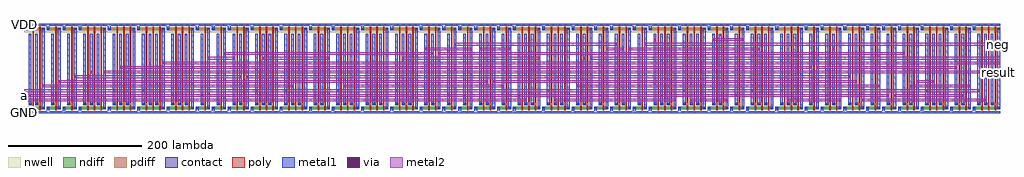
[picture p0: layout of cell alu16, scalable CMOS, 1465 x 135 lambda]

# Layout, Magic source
magic
tech scmos
<< nwell >>
rect 0 122 1465 135
<< metal1 >>
rect 0 132 1465 135
rect 0 0 1465 3
rect 7 12 11 120
rect 17 12 21 120
rect 0 125 4 132
rect 0 3 4 10
rect 27 6 31 129
rect 41 12 45 120
rect 34 125 38 132
rect 34 3 38 10
rect 51 6 55 129
rect 65 12 69 120
rect 58 125 62 132
rect 58 3 62 10
rect 75 6 79 129
rect 89 12 93 120
rect 99 12 103 120
rect 109 12 113 120
rect 82 125 86 132
rect 82 3 86 10
rect 119 6 123 129
rect 133 12 137 120
rect 143 12 147 120
rect 153 12 157 120
rect 126 125 130 132
rect 126 3 130 10
rect 163 6 167 129
rect 177 12 181 120
rect 187 12 191 120
rect 197 12 201 120
rect 170 125 174 132
rect 170 3 174 10
rect 207 6 211 129
rect 221 12 225 120
rect 231 12 235 120
rect 241 12 245 120
rect 214 125 218 132
rect 214 3 218 10
rect 251 6 255 129
rect 265 12 269 120
rect 258 125 262 132
rect 258 3 262 10
rect 275 6 279 129
rect 289 12 293 120
rect 282 125 286 132
rect 282 3 286 10
rect 299 6 303 129
rect 313 12 317 120
rect 323 12 327 120
rect 306 125 310 132
rect 306 3 310 10
rect 333 6 337 129
rect 347 12 351 120
rect 357 12 361 120
rect 367 12 371 120
rect 340 125 344 132
rect 340 3 344 10
rect 377 6 381 129
rect 391 12 395 120
rect 401 12 405 120
rect 411 12 415 120
rect 384 125 388 132
rect 384 3 388 10
rect 421 6 425 129
rect 435 12 439 120
rect 445 12 449 120
rect 428 125 432 132
rect 428 3 432 10
rect 455 6 459 129
rect 469 12 473 120
rect 479 12 483 120
rect 489 12 493 120
rect 462 125 466 132
rect 462 3 466 10
rect 499 6 503 129
rect 513 12 517 120
rect 523 12 527 120
rect 533 12 537 120
rect 506 125 510 132
rect 506 3 510 10
rect 543 6 547 129
rect 557 12 561 120
rect 567 12 571 120
rect 577 12 581 120
rect 550 125 554 132
rect 550 3 554 10
rect 587 6 591 129
rect 601 12 605 120
rect 611 12 615 120
rect 594 125 598 132
rect 594 3 598 10
rect 621 6 625 129
rect 635 12 639 120
rect 628 125 632 132
rect 628 3 632 10
rect 645 6 649 129
rect 659 12 663 120
rect 652 125 656 132
rect 652 3 656 10
rect 669 6 673 129
rect 683 12 687 120
rect 693 12 697 120
rect 676 125 680 132
rect 676 3 680 10
rect 703 6 707 129
rect 717 12 721 120
rect 710 125 714 132
rect 710 3 714 10
rect 727 6 731 129
rect 741 12 745 120
rect 751 12 755 120
rect 761 12 765 120
rect 734 125 738 132
rect 734 3 738 10
rect 771 6 775 129
rect 785 12 789 120
rect 795 12 799 120
rect 805 12 809 120
rect 778 125 782 132
rect 778 3 782 10
rect 815 6 819 129
rect 829 12 833 120
rect 839 12 843 120
rect 822 125 826 132
rect 822 3 826 10
rect 849 6 853 129
rect 863 12 867 120
rect 856 125 860 132
rect 856 3 860 10
rect 873 6 877 129
rect 887 12 891 120
rect 897 12 901 120
rect 880 125 884 132
rect 880 3 884 10
rect 907 6 911 129
rect 921 12 925 120
rect 914 125 918 132
rect 914 3 918 10
rect 931 6 935 129
rect 945 12 949 120
rect 955 12 959 120
rect 965 12 969 120
rect 938 125 942 132
rect 938 3 942 10
rect 975 6 979 129
rect 989 12 993 120
rect 999 12 1003 120
rect 1009 12 1013 120
rect 982 125 986 132
rect 982 3 986 10
rect 1019 6 1023 129
rect 1033 12 1037 120
rect 1043 12 1047 120
rect 1026 125 1030 132
rect 1026 3 1030 10
rect 1053 6 1057 129
rect 1067 12 1071 120
rect 1060 125 1064 132
rect 1060 3 1064 10
rect 1077 6 1081 129
rect 1091 12 1095 120
rect 1101 12 1105 120
rect 1111 12 1115 120
rect 1084 125 1088 132
rect 1084 3 1088 10
rect 1121 6 1125 129
rect 1135 12 1139 120
rect 1145 12 1149 120
rect 1155 12 1159 120
rect 1128 125 1132 132
rect 1128 3 1132 10
rect 1165 6 1169 129
rect 1179 12 1183 120
rect 1172 125 1176 132
rect 1172 3 1176 10
rect 1189 6 1193 129
rect 1203 12 1207 120
rect 1213 12 1217 120
rect 1196 125 1200 132
rect 1196 3 1200 10
rect 1223 6 1227 129
rect 1237 12 1241 120
rect 1247 12 1251 120
rect 1230 125 1234 132
rect 1230 3 1234 10
rect 1257 6 1261 129
rect 1271 12 1275 120
rect 1264 125 1268 132
rect 1264 3 1268 10
rect 1281 6 1285 129
rect 1295 12 1299 120
rect 1288 125 1292 132
rect 1288 3 1292 10
rect 1305 6 1309 129
rect 1319 12 1323 120
rect 1329 12 1333 120
rect 1312 125 1316 132
rect 1312 3 1316 10
rect 1339 6 1343 129
rect 1353 12 1357 120
rect 1363 12 1367 120
rect 1373 12 1377 120
rect 1346 125 1350 132
rect 1346 3 1350 10
rect 1383 6 1387 129
rect 1397 12 1401 120
rect 1407 12 1411 120
rect 1390 125 1394 132
rect 1390 3 1394 10
rect 1417 6 1421 129
rect 1431 12 1435 120
rect 1441 12 1445 120
rect 1451 12 1455 120
rect 1424 125 1428 132
rect 1424 3 1428 10
rect 1461 6 1465 129
<< pdiff >>
rect 0 125 31 129
rect 34 125 55 129
rect 58 125 79 129
rect 82 125 123 129
rect 126 125 167 129
rect 170 125 211 129
rect 214 125 255 129
rect 258 125 279 129
rect 282 125 303 129
rect 306 125 337 129
rect 340 125 381 129
rect 384 125 425 129
rect 428 125 459 129
rect 462 125 503 129
rect 506 125 547 129
rect 550 125 591 129
rect 594 125 625 129
rect 628 125 649 129
rect 652 125 673 129
rect 676 125 707 129
rect 710 125 731 129
rect 734 125 775 129
rect 778 125 819 129
rect 822 125 853 129
rect 856 125 877 129
rect 880 125 911 129
rect 914 125 935 129
rect 938 125 979 129
rect 982 125 1023 129
rect 1026 125 1057 129
rect 1060 125 1081 129
rect 1084 125 1125 129
rect 1128 125 1169 129
rect 1172 125 1193 129
rect 1196 125 1227 129
rect 1230 125 1261 129
rect 1264 125 1285 129
rect 1288 125 1309 129
rect 1312 125 1343 129
rect 1346 125 1387 129
rect 1390 125 1421 129
rect 1424 125 1465 129
<< ndiff >>
rect 0 6 31 10
rect 34 6 55 10
rect 58 6 79 10
rect 82 6 123 10
rect 126 6 167 10
rect 170 6 211 10
rect 214 6 255 10
rect 258 6 279 10
rect 282 6 303 10
rect 306 6 337 10
rect 340 6 381 10
rect 384 6 425 10
rect 428 6 459 10
rect 462 6 503 10
rect 506 6 547 10
rect 550 6 591 10
rect 594 6 625 10
rect 628 6 649 10
rect 652 6 673 10
rect 676 6 707 10
rect 710 6 731 10
rect 734 6 775 10
rect 778 6 819 10
rect 822 6 853 10
rect 856 6 877 10
rect 880 6 911 10
rect 914 6 935 10
rect 938 6 979 10
rect 982 6 1023 10
rect 1026 6 1057 10
rect 1060 6 1081 10
rect 1084 6 1125 10
rect 1128 6 1169 10
rect 1172 6 1193 10
rect 1196 6 1227 10
rect 1230 6 1261 10
rect 1264 6 1285 10
rect 1288 6 1309 10
rect 1312 6 1343 10
rect 1346 6 1387 10
rect 1390 6 1421 10
rect 1424 6 1465 10
<< poly >>
rect 13 5 15 130
rect 7 12 15 16
rect 23 5 25 130
rect 17 12 25 16
rect 47 5 49 130
rect 41 12 49 16
rect 71 5 73 130
rect 65 12 73 16
rect 95 5 97 130
rect 89 12 97 16
rect 105 5 107 130
rect 99 12 107 16
rect 115 5 117 130
rect 109 12 117 16
rect 139 5 141 130
rect 133 12 141 16
rect 149 5 151 130
rect 143 12 151 16
rect 159 5 161 130
rect 153 12 161 16
rect 183 5 185 130
rect 177 12 185 16
rect 193 5 195 130
rect 187 12 195 16
rect 203 5 205 130
rect 197 12 205 16
rect 227 5 229 130
rect 221 12 229 16
rect 237 5 239 130
rect 231 12 239 16
rect 247 5 249 130
rect 241 12 249 16
rect 271 5 273 130
rect 265 12 273 16
rect 295 5 297 130
rect 289 12 297 16
rect 319 5 321 130
rect 313 12 321 16
rect 329 5 331 130
rect 323 12 331 16
rect 353 5 355 130
rect 347 12 355 16
rect 363 5 365 130
rect 357 12 365 16
rect 373 5 375 130
rect 367 12 375 16
rect 397 5 399 130
rect 391 12 399 16
rect 407 5 409 130
rect 401 12 409 16
rect 417 5 419 130
rect 411 12 419 16
rect 441 5 443 130
rect 435 12 443 16
rect 451 5 453 130
rect 445 12 453 16
rect 475 5 477 130
rect 469 12 477 16
rect 485 5 487 130
rect 479 12 487 16
rect 495 5 497 130
rect 489 12 497 16
rect 519 5 521 130
rect 513 12 521 16
rect 529 5 531 130
rect 523 12 531 16
rect 539 5 541 130
rect 533 12 541 16
rect 563 5 565 130
rect 557 12 565 16
rect 573 5 575 130
rect 567 12 575 16
rect 583 5 585 130
rect 577 12 585 16
rect 607 5 609 130
rect 601 12 609 16
rect 617 5 619 130
rect 611 12 619 16
rect 641 5 643 130
rect 635 12 643 16
rect 665 5 667 130
rect 659 12 667 16
rect 689 5 691 130
rect 683 12 691 16
rect 699 5 701 130
rect 693 12 701 16
rect 723 5 725 130
rect 717 12 725 16
rect 747 5 749 130
rect 741 12 749 16
rect 757 5 759 130
rect 751 12 759 16
rect 767 5 769 130
rect 761 12 769 16
rect 791 5 793 130
rect 785 12 793 16
rect 801 5 803 130
rect 795 12 803 16
rect 811 5 813 130
rect 805 12 813 16
rect 835 5 837 130
rect 829 12 837 16
rect 845 5 847 130
rect 839 12 847 16
rect 869 5 871 130
rect 863 12 871 16
rect 893 5 895 130
rect 887 12 895 16
rect 903 5 905 130
rect 897 12 905 16
rect 927 5 929 130
rect 921 12 929 16
rect 951 5 953 130
rect 945 12 953 16
rect 961 5 963 130
rect 955 12 963 16
rect 971 5 973 130
rect 965 12 973 16
rect 995 5 997 130
rect 989 12 997 16
rect 1005 5 1007 130
rect 999 12 1007 16
rect 1015 5 1017 130
rect 1009 12 1017 16
rect 1039 5 1041 130
rect 1033 12 1041 16
rect 1049 5 1051 130
rect 1043 12 1051 16
rect 1073 5 1075 130
rect 1067 12 1075 16
rect 1097 5 1099 130
rect 1091 12 1099 16
rect 1107 5 1109 130
rect 1101 12 1109 16
rect 1117 5 1119 130
rect 1111 12 1119 16
rect 1141 5 1143 130
rect 1135 12 1143 16
rect 1151 5 1153 130
rect 1145 12 1153 16
rect 1161 5 1163 130
rect 1155 12 1163 16
rect 1185 5 1187 130
rect 1179 12 1187 16
rect 1209 5 1211 130
rect 1203 12 1211 16
rect 1219 5 1221 130
rect 1213 12 1221 16
rect 1243 5 1245 130
rect 1237 12 1245 16
rect 1253 5 1255 130
rect 1247 12 1255 16
rect 1277 5 1279 130
rect 1271 12 1279 16
rect 1301 5 1303 130
rect 1295 12 1303 16
rect 1325 5 1327 130
rect 1319 12 1327 16
rect 1335 5 1337 130
rect 1329 12 1337 16
rect 1359 5 1361 130
rect 1353 12 1361 16
rect 1369 5 1371 130
rect 1363 12 1371 16
rect 1379 5 1381 130
rect 1373 12 1381 16
rect 1403 5 1405 130
rect 1397 12 1405 16
rect 1413 5 1415 130
rect 1407 12 1415 16
rect 1437 5 1439 130
rect 1431 12 1439 16
rect 1447 5 1449 130
rect 1441 12 1449 16
rect 1457 5 1459 130
rect 1451 12 1459 16
<< contact >>
rect 8 13 10 15
rect 18 13 20 15
rect 1 126 3 128
rect 1 7 3 9
rect 28 126 30 128
rect 28 7 30 9
rect 42 13 44 15
rect 35 126 37 128
rect 35 7 37 9
rect 52 126 54 128
rect 52 7 54 9
rect 66 13 68 15
rect 59 126 61 128
rect 59 7 61 9
rect 76 126 78 128
rect 76 7 78 9
rect 90 13 92 15
rect 100 13 102 15
rect 110 13 112 15
rect 83 126 85 128
rect 83 7 85 9
rect 120 126 122 128
rect 120 7 122 9
rect 134 13 136 15
rect 144 13 146 15
rect 154 13 156 15
rect 127 126 129 128
rect 127 7 129 9
rect 164 126 166 128
rect 164 7 166 9
rect 178 13 180 15
rect 188 13 190 15
rect 198 13 200 15
rect 171 126 173 128
rect 171 7 173 9
rect 208 126 210 128
rect 208 7 210 9
rect 222 13 224 15
rect 232 13 234 15
rect 242 13 244 15
rect 215 126 217 128
rect 215 7 217 9
rect 252 126 254 128
rect 252 7 254 9
rect 266 13 268 15
rect 259 126 261 128
rect 259 7 261 9
rect 276 126 278 128
rect 276 7 278 9
rect 290 13 292 15
rect 283 126 285 128
rect 283 7 285 9
rect 300 126 302 128
rect 300 7 302 9
rect 314 13 316 15
rect 324 13 326 15
rect 307 126 309 128
rect 307 7 309 9
rect 334 126 336 128
rect 334 7 336 9
rect 348 13 350 15
rect 358 13 360 15
rect 368 13 370 15
rect 341 126 343 128
rect 341 7 343 9
rect 378 126 380 128
rect 378 7 380 9
rect 392 13 394 15
rect 402 13 404 15
rect 412 13 414 15
rect 385 126 387 128
rect 385 7 387 9
rect 422 126 424 128
rect 422 7 424 9
rect 436 13 438 15
rect 446 13 448 15
rect 429 126 431 128
rect 429 7 431 9
rect 456 126 458 128
rect 456 7 458 9
rect 470 13 472 15
rect 480 13 482 15
rect 490 13 492 15
rect 463 126 465 128
rect 463 7 465 9
rect 500 126 502 128
rect 500 7 502 9
rect 514 13 516 15
rect 524 13 526 15
rect 534 13 536 15
rect 507 126 509 128
rect 507 7 509 9
rect 544 126 546 128
rect 544 7 546 9
rect 558 13 560 15
rect 568 13 570 15
rect 578 13 580 15
rect 551 126 553 128
rect 551 7 553 9
rect 588 126 590 128
rect 588 7 590 9
rect 602 13 604 15
rect 612 13 614 15
rect 595 126 597 128
rect 595 7 597 9
rect 622 126 624 128
rect 622 7 624 9
rect 636 13 638 15
rect 629 126 631 128
rect 629 7 631 9
rect 646 126 648 128
rect 646 7 648 9
rect 660 13 662 15
rect 653 126 655 128
rect 653 7 655 9
rect 670 126 672 128
rect 670 7 672 9
rect 684 13 686 15
rect 694 13 696 15
rect 677 126 679 128
rect 677 7 679 9
rect 704 126 706 128
rect 704 7 706 9
rect 718 13 720 15
rect 711 126 713 128
rect 711 7 713 9
rect 728 126 730 128
rect 728 7 730 9
rect 742 13 744 15
rect 752 13 754 15
rect 762 13 764 15
rect 735 126 737 128
rect 735 7 737 9
rect 772 126 774 128
rect 772 7 774 9
rect 786 13 788 15
rect 796 13 798 15
rect 806 13 808 15
rect 779 126 781 128
rect 779 7 781 9
rect 816 126 818 128
rect 816 7 818 9
rect 830 13 832 15
rect 840 13 842 15
rect 823 126 825 128
rect 823 7 825 9
rect 850 126 852 128
rect 850 7 852 9
rect 864 13 866 15
rect 857 126 859 128
rect 857 7 859 9
rect 874 126 876 128
rect 874 7 876 9
rect 888 13 890 15
rect 898 13 900 15
rect 881 126 883 128
rect 881 7 883 9
rect 908 126 910 128
rect 908 7 910 9
rect 922 13 924 15
rect 915 126 917 128
rect 915 7 917 9
rect 932 126 934 128
rect 932 7 934 9
rect 946 13 948 15
rect 956 13 958 15
rect 966 13 968 15
rect 939 126 941 128
rect 939 7 941 9
rect 976 126 978 128
rect 976 7 978 9
rect 990 13 992 15
rect 1000 13 1002 15
rect 1010 13 1012 15
rect 983 126 985 128
rect 983 7 985 9
rect 1020 126 1022 128
rect 1020 7 1022 9
rect 1034 13 1036 15
rect 1044 13 1046 15
rect 1027 126 1029 128
rect 1027 7 1029 9
rect 1054 126 1056 128
rect 1054 7 1056 9
rect 1068 13 1070 15
rect 1061 126 1063 128
rect 1061 7 1063 9
rect 1078 126 1080 128
rect 1078 7 1080 9
rect 1092 13 1094 15
rect 1102 13 1104 15
rect 1112 13 1114 15
rect 1085 126 1087 128
rect 1085 7 1087 9
rect 1122 126 1124 128
rect 1122 7 1124 9
rect 1136 13 1138 15
rect 1146 13 1148 15
rect 1156 13 1158 15
rect 1129 126 1131 128
rect 1129 7 1131 9
rect 1166 126 1168 128
rect 1166 7 1168 9
rect 1180 13 1182 15
rect 1173 126 1175 128
rect 1173 7 1175 9
rect 1190 126 1192 128
rect 1190 7 1192 9
rect 1204 13 1206 15
rect 1214 13 1216 15
rect 1197 126 1199 128
rect 1197 7 1199 9
rect 1224 126 1226 128
rect 1224 7 1226 9
rect 1238 13 1240 15
rect 1248 13 1250 15
rect 1231 126 1233 128
rect 1231 7 1233 9
rect 1258 126 1260 128
rect 1258 7 1260 9
rect 1272 13 1274 15
rect 1265 126 1267 128
rect 1265 7 1267 9
rect 1282 126 1284 128
rect 1282 7 1284 9
rect 1296 13 1298 15
rect 1289 126 1291 128
rect 1289 7 1291 9
rect 1306 126 1308 128
rect 1306 7 1308 9
rect 1320 13 1322 15
rect 1330 13 1332 15
rect 1313 126 1315 128
rect 1313 7 1315 9
rect 1340 126 1342 128
rect 1340 7 1342 9
rect 1354 13 1356 15
rect 1364 13 1366 15
rect 1374 13 1376 15
rect 1347 126 1349 128
rect 1347 7 1349 9
rect 1384 126 1386 128
rect 1384 7 1386 9
rect 1398 13 1400 15
rect 1408 13 1410 15
rect 1391 126 1393 128
rect 1391 7 1393 9
rect 1418 126 1420 128
rect 1418 7 1420 9
rect 1432 13 1434 15
rect 1442 13 1444 15
rect 1452 13 1454 15
rect 1425 126 1427 128
rect 1425 7 1427 9
rect 1462 126 1464 128
rect 1462 7 1464 9
<< metal2 >>
rect 0 18 755 22
rect 0 25 1299 29
rect 0 32 1435 36
rect 27 39 405 43
rect 51 46 697 50
rect 75 53 327 57
rect 99 60 103 64
rect 119 60 1465 64
rect 143 67 1183 71
rect 187 74 191 78
rect 207 74 1465 78
rect 275 81 317 85
rect 299 88 615 92
rect 333 53 1241 57
rect 357 81 459 85
rect 479 39 721 43
rect 567 81 775 85
rect 601 95 673 99
rect 621 88 1323 92
rect 645 102 891 106
rect 683 95 731 99
rect 703 46 1251 50
rect 795 18 979 22
rect 829 39 1285 43
rect 839 81 843 85
rect 849 81 1465 85
rect 873 95 901 99
rect 907 95 1105 99
rect 931 102 1465 106
rect 945 109 949 113
rect 999 18 1057 22
rect 1033 109 1081 113
rect 1043 116 1047 120
rect 1145 18 1227 22
rect 1189 67 1401 71
rect 1213 95 1217 99
rect 1257 18 1445 22
rect 1305 25 1411 29
rect 1329 39 1421 43
rect 1339 46 1367 50
<< via >>
rect 18 19 20 21
rect 66 19 68 21
rect 232 19 234 21
rect 290 19 292 21
rect 446 19 448 21
rect 524 19 526 21
rect 752 19 754 21
rect 8 26 10 28
rect 42 26 44 28
rect 222 26 224 28
rect 266 26 268 28
rect 436 26 438 28
rect 514 26 516 28
rect 636 26 638 28
rect 660 26 662 28
rect 742 26 744 28
rect 864 26 866 28
rect 956 26 958 28
rect 1068 26 1070 28
rect 1204 26 1206 28
rect 1296 26 1298 28
rect 90 33 92 35
rect 134 33 136 35
rect 178 33 180 35
rect 348 33 350 35
rect 392 33 394 35
rect 470 33 472 35
rect 558 33 560 35
rect 786 33 788 35
rect 990 33 992 35
rect 1092 33 1094 35
rect 1136 33 1138 35
rect 1354 33 1356 35
rect 1432 33 1434 35
rect 28 40 30 42
rect 402 40 404 42
rect 52 47 54 49
rect 694 47 696 49
rect 76 54 78 56
rect 324 54 326 56
rect 100 61 102 63
rect 120 61 122 63
rect 144 68 146 70
rect 252 68 254 70
rect 1180 68 1182 70
rect 188 75 190 77
rect 208 75 210 77
rect 276 82 278 84
rect 314 82 316 84
rect 300 89 302 91
rect 612 89 614 91
rect 334 54 336 56
rect 1238 54 1240 56
rect 358 82 360 84
rect 456 82 458 84
rect 480 40 482 42
rect 544 40 546 42
rect 718 40 720 42
rect 568 82 570 84
rect 772 82 774 84
rect 602 96 604 98
rect 670 96 672 98
rect 622 89 624 91
rect 1320 89 1322 91
rect 646 103 648 105
rect 888 103 890 105
rect 684 96 686 98
rect 728 96 730 98
rect 704 47 706 49
rect 1248 47 1250 49
rect 796 19 798 21
rect 976 19 978 21
rect 830 40 832 42
rect 922 40 924 42
rect 1282 40 1284 42
rect 840 82 842 84
rect 850 82 852 84
rect 874 96 876 98
rect 898 96 900 98
rect 908 96 910 98
rect 1102 96 1104 98
rect 932 103 934 105
rect 946 110 948 112
rect 1000 19 1002 21
rect 1054 19 1056 21
rect 1034 110 1036 112
rect 1078 110 1080 112
rect 1044 117 1046 119
rect 1146 19 1148 21
rect 1224 19 1226 21
rect 1190 68 1192 70
rect 1398 68 1400 70
rect 1214 96 1216 98
rect 1258 19 1260 21
rect 1442 19 1444 21
rect 1306 26 1308 28
rect 1408 26 1410 28
rect 1330 40 1332 42
rect 1418 40 1420 42
rect 1340 47 1342 49
rect 1364 47 1366 49
<< labels >>
rlabel metal1 1 1 1 1 0 GND
rlabel metal1 1 133 1 133 0 VDD
rlabel metal2 1 20 1 20 0 b
rlabel metal2 1 27 1 27 0 a
rlabel metal2 1 34 1 34 0 opcode
rlabel metal2 1463 62 1463 62 0 result
rlabel metal2 1463 76 1463 76 0 overflow
rlabel metal2 1463 83 1463 83 0 zero
rlabel metal2 1463 104 1463 104 0 neg
<< end >>
